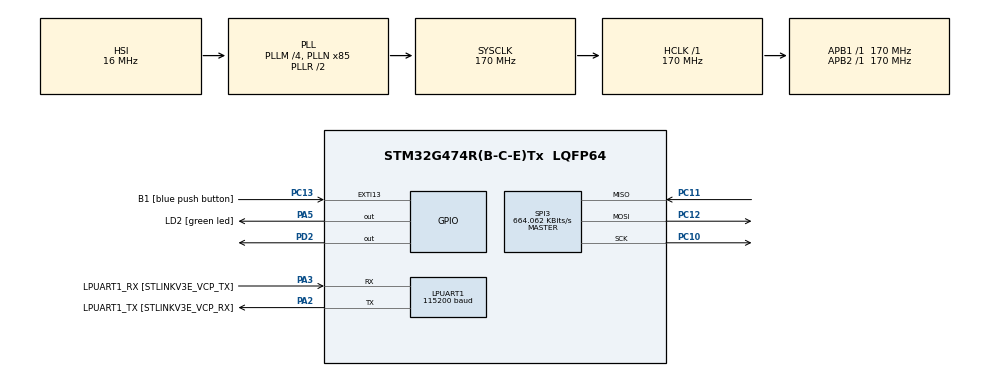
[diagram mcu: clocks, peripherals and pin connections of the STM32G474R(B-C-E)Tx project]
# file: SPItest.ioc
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LPUART1.BaudRate=115200
LPUART1.WordLength=UART_WORDLENGTH_8B
Mcu.Family=STM32G4
Mcu.Name=STM32G474R(B-C-E)Tx
Mcu.Package=LQFP64
NVIC.EXTI15_10_IRQn=true\:0\:0\:false\:false\:true\:true\:true\:true
NVIC.PriorityGroup=NVIC_PRIORITYGROUP_4
NVIC.SPI3_IRQn=true\:0\:0\:false\:false\:true\:true\:true\:true
PA13.GPIO_Label=T_SWDIO
PA13.Mode=Serial_Wire
PA13.Signal=SYS_JTMS-SWDIO
PA14.GPIO_Label=T_SWCLK
PA14.Mode=Serial_Wire
PA14.Signal=SYS_JTCK-SWCLK
PA2.GPIO_Label=LPUART1_TX [STLINKV3E_VCP_RX]
PA2.Mode=Asynchronous
PA2.Signal=LPUART1_TX
PA3.GPIO_Label=LPUART1_RX [STLINKV3E_VCP_TX]
PA3.Mode=Asynchronous
PA3.Signal=LPUART1_RX
PA5.GPIO_Label=LD2 [green led]
PA5.Signal=GPIO_Output
PB3.GPIO_Label=T_SWO
PB3.Signal=SYS_JTDO-SWO
PC10.Mode=Full_Duplex_Master
PC10.Signal=SPI3_SCK
PC11.Mode=Full_Duplex_Master
PC11.Signal=SPI3_MISO
PC12.Mode=Full_Duplex_Master
PC12.Signal=SPI3_MOSI
PC13.GPIO_Label=B1 [blue push button]
PC13.Signal=GPXTI13
PC14-OSC32_IN.Mode=LSE-External-Oscillator
PC14-OSC32_IN.Signal=RCC_OSC32_IN
PC15-OSC32_OUT.Mode=LSE-External-Oscillator
PC15-OSC32_OUT.Signal=RCC_OSC32_OUT
PD2.Signal=GPIO_Output
PF0-OSC_IN.Mode=HSE-External-Oscillator
PF0-OSC_IN.Signal=RCC_OSC_IN
PF1-OSC_OUT.Mode=HSE-External-Oscillator
PF1-OSC_OUT.Signal=RCC_OSC_OUT
ProjectManager.HeapSize=0x200
ProjectManager.StackSize=0x400
ProjectManager.TargetToolchain=STM32CubeIDE
RCC.ADC12Freq_Value=170000000
RCC.ADC345Freq_Value=170000000
RCC.AHBFreq_Value=170000000
RCC.APB1Freq_Value=170000000
RCC.APB1TimFreq_Value=170000000
RCC.APB2Freq_Value=170000000
RCC.APB2TimFreq_Value=170000000
RCC.CortexFreq_Value=170000000
RCC.EXTERNAL_CLOCK_VALUE=12288000
RCC.HCLKFreq_Value=170000000
RCC.HSE_VALUE=24000000
RCC.HSI48_VALUE=48000000
RCC.HSI_VALUE=16000000
RCC.PLLM=RCC_PLLM_DIV4
RCC.PLLN=85
RCC.RTCClockSelection=RCC_RTCCLKSOURCE_LSE
RCC.SYSCLKFreq_VALUE=170000000
RCC.SYSCLKSource=RCC_SYSCLKSOURCE_PLLCLK
RCC.USBFreq_Value=170000000
RCC.VCOOutputFreq_Value=340000000
SPI3.BaudRatePrescaler=SPI_BAUDRATEPRESCALER_256
SPI3.CLKPolarity=SPI_POLARITY_HIGH
SPI3.CalculateBaudRate=664.062 KBits/s
SPI3.DataSize=SPI_DATASIZE_8BIT
SPI3.Direction=SPI_DIRECTION_2LINES
SPI3.Mode=SPI_MODE_MASTER
SPI3.VirtualType=VM_MASTER
VP_SYS_VS_DBSignals.Mode=DisableDeadBatterySignals
board=NUCLEO-G474RE

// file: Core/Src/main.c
/* USER CODE BEGIN Header */
/**
  ******************************************************************************
  * @file           : main.c
  * @brief          : Main program body
  ******************************************************************************
  * @attention
  *
  * Copyright (c) 2024 STMicroelectronics.
  * All rights reserved.
  *
  * This software is licensed under terms that can be found in the LICENSE file
  * in the root directory of this software component.
  * If no LICENSE file comes with this software, it is provided AS-IS.
  *
  ******************************************************************************
  */
/* USER CODE END Header */
#include "main.h"

UART_HandleTypeDef hlpuart1;

SPI_HandleTypeDef hspi3;

/* USER CODE BEGIN PV */
uint8_t SPIRx[10];
uint8_t SPITx[10];

/* USER CODE END PV */

void SystemClock_Config(void);
static void MX_GPIO_Init(void);
static void MX_LPUART1_UART_Init(void);
static void MX_SPI3_Init(void);
/* USER CODE BEGIN PFP */
void writeID();
void SPITxRx_Setup();
/* USER CODE END PFP */

int main(void)
{

  /* MCU Configuration--------------------------------------------------------*/

  /* Reset of all peripherals, Initializes the Flash interface and the Systick. */
  HAL_Init();

  /* Configure the system clock */
  SystemClock_Config();

  /* Initialize all configured peripherals */
  MX_GPIO_Init();
  MX_LPUART1_UART_Init();
  MX_SPI3_Init();
  /* USER CODE BEGIN 2 */
  SPITxRx_Setup();
  /* USER CODE END 2 */

  /* Infinite loop */
  while (1)
  {

    /* USER CODE BEGIN 3 */
	  writeID();
  }
  /* USER CODE END 3 */
}

void SystemClock_Config(void)
{
  RCC_OscInitTypeDef RCC_OscInitStruct = {0};
  RCC_ClkInitTypeDef RCC_ClkInitStruct = {0};

  /** Configure the main internal regulator output voltage
  */
  HAL_PWREx_ControlVoltageScaling(PWR_REGULATOR_VOLTAGE_SCALE1_BOOST);

  /** Initializes the RCC Oscillators according to the specified parameters
  * in the RCC_OscInitTypeDef structure.
  */
  RCC_OscInitStruct.OscillatorType = RCC_OSCILLATORTYPE_HSI;
  RCC_OscInitStruct.HSIState = RCC_HSI_ON;
  RCC_OscInitStruct.HSICalibrationValue = RCC_HSICALIBRATION_DEFAULT;
  RCC_OscInitStruct.PLL.PLLState = RCC_PLL_ON;
  RCC_OscInitStruct.PLL.PLLSource = RCC_PLLSOURCE_HSI;
  RCC_OscInitStruct.PLL.PLLM = RCC_PLLM_DIV4;
  RCC_OscInitStruct.PLL.PLLN = 85;
  RCC_OscInitStruct.PLL.PLLP = RCC_PLLP_DIV2;
  RCC_OscInitStruct.PLL.PLLQ = RCC_PLLQ_DIV2;
  RCC_OscInitStruct.PLL.PLLR = RCC_PLLR_DIV2;
  if (HAL_RCC_OscConfig(&RCC_OscInitStruct) != HAL_OK)
  {
    Error_Handler();
  }

  /** Initializes the CPU, AHB and APB buses clocks
  */
  RCC_ClkInitStruct.ClockType = RCC_CLOCKTYPE_HCLK|RCC_CLOCKTYPE_SYSCLK
                              |RCC_CLOCKTYPE_PCLK1|RCC_CLOCKTYPE_PCLK2;
  RCC_ClkInitStruct.SYSCLKSource = RCC_SYSCLKSOURCE_PLLCLK;
  RCC_ClkInitStruct.AHBCLKDivider = RCC_SYSCLK_DIV1;
  RCC_ClkInitStruct.APB1CLKDivider = RCC_HCLK_DIV1;
  RCC_ClkInitStruct.APB2CLKDivider = RCC_HCLK_DIV1;

  if (HAL_RCC_ClockConfig(&RCC_ClkInitStruct, FLASH_LATENCY_4) != HAL_OK)
  {
    Error_Handler();
  }
}

static void MX_LPUART1_UART_Init(void)
{

  hlpuart1.Instance = LPUART1;
  hlpuart1.Init.BaudRate = 115200;
  hlpuart1.Init.WordLength = UART_WORDLENGTH_8B;
  hlpuart1.Init.StopBits = UART_STOPBITS_1;
  hlpuart1.Init.Parity = UART_PARITY_NONE;
  hlpuart1.Init.Mode = UART_MODE_TX_RX;
  hlpuart1.Init.HwFlowCtl = UART_HWCONTROL_NONE;
  hlpuart1.Init.OneBitSampling = UART_ONE_BIT_SAMPLE_DISABLE;
  hlpuart1.Init.ClockPrescaler = UART_PRESCALER_DIV1;
  hlpuart1.AdvancedInit.AdvFeatureInit = UART_ADVFEATURE_NO_INIT;
  if (HAL_UART_Init(&hlpuart1) != HAL_OK)
  {
    Error_Handler();
  }
  if (HAL_UARTEx_SetTxFifoThreshold(&hlpuart1, UART_TXFIFO_THRESHOLD_1_8) != HAL_OK)
  {
    Error_Handler();
  }
  if (HAL_UARTEx_SetRxFifoThreshold(&hlpuart1, UART_RXFIFO_THRESHOLD_1_8) != HAL_OK)
  {
    Error_Handler();
  }
  if (HAL_UARTEx_DisableFifoMode(&hlpuart1) != HAL_OK)
  {
    Error_Handler();
  }

}

static void MX_SPI3_Init(void)
{

  /* SPI3 parameter configuration*/
  hspi3.Instance = SPI3;
  hspi3.Init.Mode = SPI_MODE_MASTER;
  hspi3.Init.Direction = SPI_DIRECTION_2LINES;
  hspi3.Init.DataSize = SPI_DATASIZE_8BIT;
  hspi3.Init.CLKPolarity = SPI_POLARITY_HIGH;
  hspi3.Init.CLKPhase = SPI_PHASE_1EDGE;
  hspi3.Init.NSS = SPI_NSS_SOFT;
  hspi3.Init.BaudRatePrescaler = SPI_BAUDRATEPRESCALER_256;
  hspi3.Init.FirstBit = SPI_FIRSTBIT_MSB;
  hspi3.Init.TIMode = SPI_TIMODE_DISABLE;
  hspi3.Init.CRCCalculation = SPI_CRCCALCULATION_DISABLE;
  hspi3.Init.CRCPolynomial = 7;
  hspi3.Init.CRCLength = SPI_CRC_LENGTH_DATASIZE;
  hspi3.Init.NSSPMode = SPI_NSS_PULSE_ENABLE;
  if (HAL_SPI_Init(&hspi3) != HAL_OK)
  {
    Error_Handler();
  }

}

static void MX_GPIO_Init(void)
{
  GPIO_InitTypeDef GPIO_InitStruct = {0};

  /* GPIO Ports Clock Enable */
  __HAL_RCC_GPIOC_CLK_ENABLE();
  __HAL_RCC_GPIOF_CLK_ENABLE();
  __HAL_RCC_GPIOA_CLK_ENABLE();
  __HAL_RCC_GPIOD_CLK_ENABLE();
  __HAL_RCC_GPIOB_CLK_ENABLE();

  /*Configure GPIO pin Output Level */
  HAL_GPIO_WritePin(LD2_GPIO_Port, LD2_Pin, GPIO_PIN_RESET);

  /*Configure GPIO pin Output Level */
  HAL_GPIO_WritePin(GPIOD, GPIO_PIN_2, GPIO_PIN_RESET);

  /*Configure GPIO pin : B1_Pin */
  GPIO_InitStruct.Pin = B1_Pin;
  GPIO_InitStruct.Mode = GPIO_MODE_IT_RISING;
  GPIO_InitStruct.Pull = GPIO_NOPULL;
  HAL_GPIO_Init(B1_GPIO_Port, &GPIO_InitStruct);

  /*Configure GPIO pin : LD2_Pin */
  GPIO_InitStruct.Pin = LD2_Pin;
  GPIO_InitStruct.Mode = GPIO_MODE_OUTPUT_PP;
  GPIO_InitStruct.Pull = GPIO_NOPULL;
  GPIO_InitStruct.Speed = GPIO_SPEED_FREQ_LOW;
  HAL_GPIO_Init(LD2_GPIO_Port, &GPIO_InitStruct);

  /*Configure GPIO pin : PD2 */
  GPIO_InitStruct.Pin = GPIO_PIN_2;
  GPIO_InitStruct.Mode = GPIO_MODE_OUTPUT_PP;
  GPIO_InitStruct.Pull = GPIO_NOPULL;
  GPIO_InitStruct.Speed = GPIO_SPEED_FREQ_LOW;
  HAL_GPIO_Init(GPIOD, &GPIO_InitStruct);

  /* EXTI interrupt init*/
  HAL_NVIC_SetPriority(EXTI15_10_IRQn, 0, 0);
  HAL_NVIC_EnableIRQ(EXTI15_10_IRQn);

}

/* USER CODE BEGIN 4 */
void SPITxRx_Setup(){
    //CS pulse
    HAL_GPIO_WritePin(GPIOD, GPIO_PIN_2, 0); // CS Select
    HAL_Delay(1);
    HAL_GPIO_WritePin(GPIOD, GPIO_PIN_2, 1); // CS deSelect
    HAL_Delay(1);
}

void writeID(){
    if((HAL_GPIO_ReadPin(GPIOD,GPIO_PIN_2))){
            HAL_GPIO_WritePin(GPIOD, GPIO_PIN_2, 0); // CS Select
//            SPITx[0] = 0b01000000;
//            SPITx[1] = 0x15;
            SPITx[0] = 0x65;
            SPITx[1] = 0x34;
            SPITx[2] = 0x05;
            SPITx[3] = 0x00;
            SPITx[4] = 0x02;
            SPITx[5] = 0x60;
            HAL_SPI_TransmitReceive_IT(&hspi3, SPITx, SPIRx, 6);
    }
}

void HAL_SPI_TxRxCpltCallback(SPI_HandleTypeDef *hspi)
{
    HAL_GPIO_WritePin(GPIOD, GPIO_PIN_2, 1); //CS dnSelect
}
/* USER CODE END 4 */

void Error_Handler(void)
{
  __disable_irq();
  while (1)
  {
  }
}
